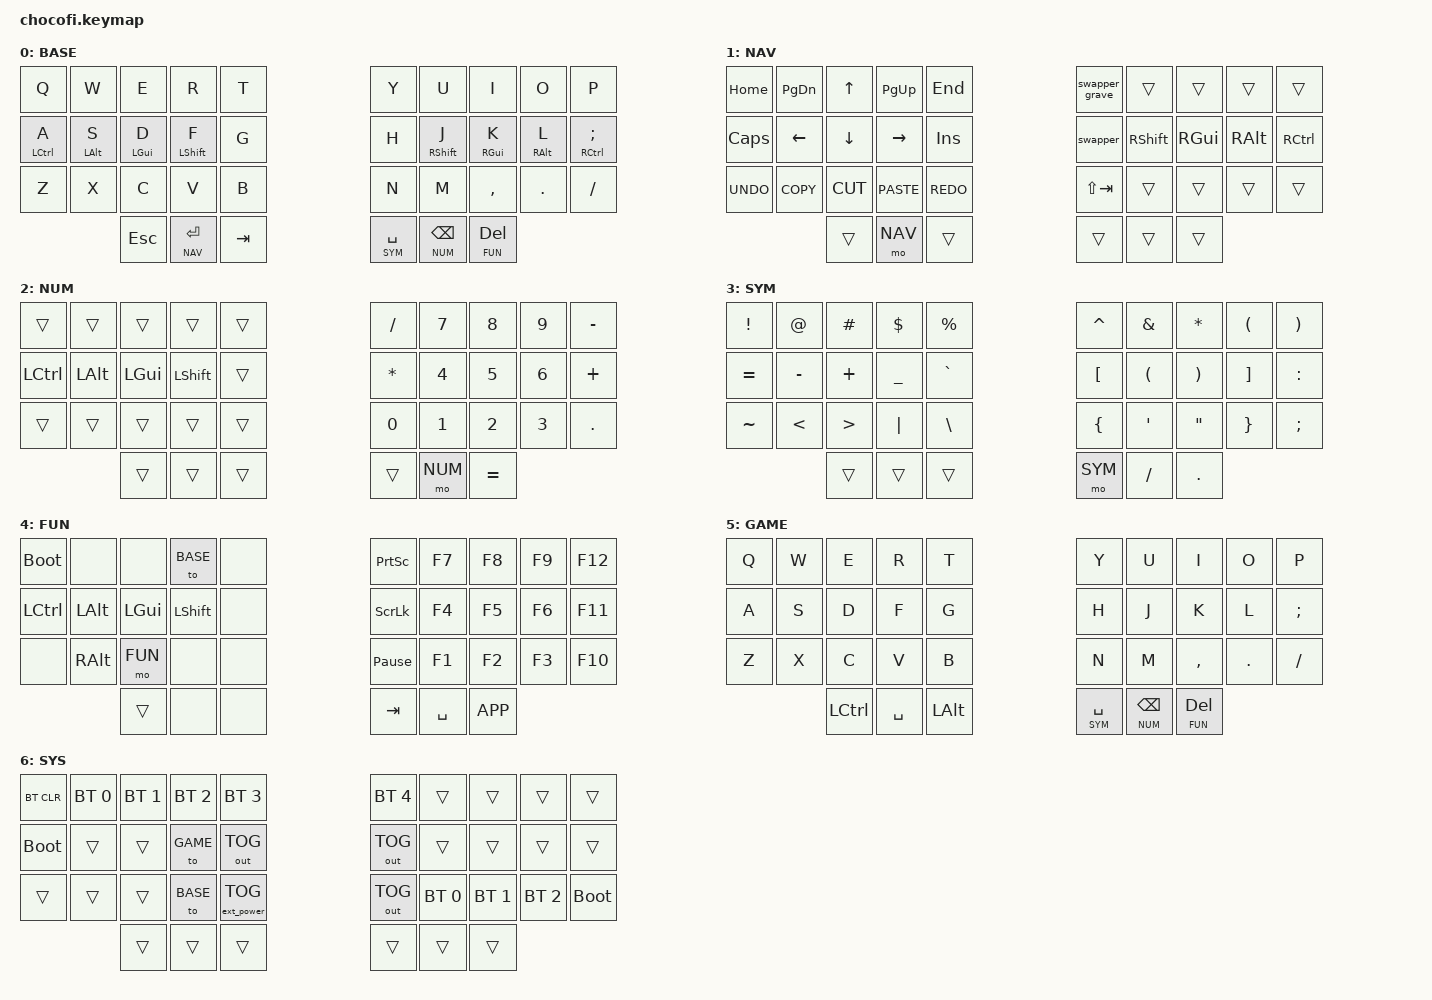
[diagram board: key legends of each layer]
/*
 * Unified Miryoku-inspired keymap for Chocofi keyboard (36 keys)
 * Uses Miryoku layer structure with urob's num layer
 * Copyright (c) 2020 The ZMK Contributors
 * SPDX-License-Identifier: MIT
 */

#include <zmk-helpers/helper.h>
#include <zmk-helpers/key-labels/36.h>
#include <behaviors/num_word.dtsi>
#include <behaviors.dtsi>
#include <dt-bindings/zmk/bt.h>
#include <dt-bindings/zmk/keys.h>
#include <dt-bindings/zmk/outputs.h>
#include <dt-bindings/zmk/ext_power.h>
#include <dt-bindings/zmk/reset.h>

// Layer definitions
#define BASE 0
#define NAV 1
#define NUM 2
#define SYM 3
#define FUN 4
#define GAME 5
#define SYS 6

// Key position groups for positional hold-tap (36-key layout)
// Left hand: 15 keys (3 rows × 5 cols)
#define KEYS_L LT0 LT1 LT2 LT3 LT4 LM0 LM1 LM2 LM3 LM4 LB0 LB1 LB2 LB3 LB4
// Right hand: 15 keys (3 rows × 5 cols)
#define KEYS_R RT0 RT1 RT2 RT3 RT4 RM0 RM1 RM2 RM3 RM4 RB0 RB1 RB2 RB3 RB4
// Thumb keys: 6 keys (3 per side)
#define THUMBS LH2 LH1 LH0 RH0 RH1 RH2

/ {
    behaviors {
        // Swapper for Ctrl+Tab window switching (macOS with swapped GUI/Ctrl)
        swapper: swapper {
            compatible = "zmk,behavior-tri-state";
            #binding-cells = <0>;
            bindings = <&kt LCTRL>, <&kp TAB>, <&kt LCTRL>;
            ignored-key-positions = <1 2 3 4 11 12 13 14 15 25>; // Allow Shift+Tab, navigation keys, and swapper_grave
        };

        // Swapper for Ctrl+` window switching within same app (macOS)
        swapper_grave: swapper_grave {
            compatible = "zmk,behavior-tri-state";
            #binding-cells = <0>;
            bindings = <&kt LCTRL>, <&kp GRAVE>, <&kt LCTRL>;
            ignored-key-positions = <1 2 3 4 11 12 13 14 15 25>; // Allow navigation keys and swapper
        };

        // Home row mods - left hand (urob's timing)
        hml: homerow_mods_left {
            compatible = "zmk,behavior-hold-tap";
            #binding-cells = <2>;
            flavor = "balanced";
            tapping-term-ms = <280>;
            quick-tap-ms = <175>;
            require-prior-idle-ms = <150>;
            bindings = <&kp>, <&kp>;
            hold-trigger-key-positions = <KEYS_R THUMBS>;
            hold-trigger-on-release;
        };

        // Home row mods - right hand (urob's timing)
        hmr: homerow_mods_right {
            compatible = "zmk,behavior-hold-tap";
            #binding-cells = <2>;
            flavor = "balanced";
            tapping-term-ms = <280>;
            quick-tap-ms = <175>;
            require-prior-idle-ms = <150>;
            bindings = <&kp>, <&kp>;
            hold-trigger-key-positions = <KEYS_L THUMBS>;
            hold-trigger-on-release;
        };

        // Tap-dance for numword: tap=numword, double-tap=sticky layer
        num_dance: num_dance {
            compatible = "zmk,behavior-tap-dance";
            #binding-cells = <0>;
            tapping-term-ms = <200>;
            bindings = <&num_word NUM>, <&sl NUM>;
        };

        // Smart-num: hold=momentary NUM, tap=numword
        smart_num: smart_num {
            compatible = "zmk,behavior-hold-tap";
            #binding-cells = <2>;
            flavor = "balanced";
            tapping-term-ms = <200>;
            quick-tap-ms = <175>;
            bindings = <&mo>, <&num_dance>;
        };
    };

    combos {
        compatible = "zmk,combos";

        // Combo to access SYS layer (Q + Z on left side)
        combo_sys {
            timeout-ms = <50>;
            key-positions = <0 20>; // Q + Z positions
            bindings = <&mo SYS>;
            layers = <BASE GAME>;
        };
    };

    conditional_layers {
        compatible = "zmk,conditional-layers";

        // SYM + FUN held together activates SYS layer
        tri_layer {
            if-layers = <SYM FUN>;
            then-layer = <SYS>;
        };
    };

    keymap {
        compatible = "zmk,keymap";

        // BASE LAYER - QWERTY with urob's home row mods (CAGS order)
        base_layer {
            display-name = "BASE";
            // -----------------------------------------------------------------------------------------
            // |  Q  |  W  |  E  |  R  |  T  |   |  Y  |  U   |  I  |  O  |  P  |
            // | CTRL| ALT | GUI |SHFT |  G  |   |  H  |SHFT  | GUI | ALT | CTRL|
            // |  A  |  S  |  D  |  F  |     |   |     |  J   |  K  |  L  |  ;  |
            // |  Z  |  X  |  C  |  V  |  B  |   |  N  |  M   |  ,  |  .  |  /  |
            //             | ESC | NAV | TAB |   | SYM | NUM  | FUN |
            //             |     | RET |     |   | SPC | BSP  | DEL |

            bindings = <
&kp Q          &kp W        &kp E         &kp R         &kp T             &kp Y         &kp U           &kp I         &kp O        &kp P
&hml LCTRL A   &hml LALT S  &hml LGUI D   &hml LSHFT F  &kp G             &kp H         &hmr RSHFT J    &hmr RGUI K   &hmr RALT L  &hmr RCTRL SEMI
&kp Z          &kp X        &kp C         &kp V         &kp B             &kp N         &kp M           &kp COMMA     &kp DOT      &kp FSLH
                            &kp ESC       &lt NAV RET   &kp TAB           &lt SYM SPACE &lt NUM BSPC    &lt FUN DEL
            >;
        };

        // NAV LAYER - Navigation (one-handed left side, ESDF arrows)
        nav_layer {
            display-name = "NAV";
            // -----------------------------------------------------------------------------------------
            // | HOME|PG_DN| UP  |PG_UP| END |   |SW_` |     |     |     |     |
            // | CAPS| LEFT| DOWN|RIGHT| INS |   |SWAP |SHFT | GUI | ALT |CTRL |
            // | UNDO| COPY| CUT |PASTE| REDO|   |S+TAB|     |     |     |     |
            //             |     | NAV |     |   |     |     |     |

            bindings = <
&kp HOME   &kp PG_DN  &kp UP     &kp PG_UP   &kp END       &swapper_grave &trans     &trans    &trans    &trans
&kp CAPS   &kp LEFT   &kp DOWN   &kp RIGHT   &kp INS       &swapper       &kp RSHFT  &kp RGUI  &kp RALT  &kp RCTRL
&kp K_UNDO &kp K_COPY &kp K_CUT  &kp K_PASTE &kp K_REDO    &kp LS(TAB)    &trans     &trans    &trans    &trans
                      &trans     &mo NAV     &trans        &trans         &trans     &trans
            >;
        };

        // NUM LAYER - Number pad (one-handed right side, activated by right thumb)
        num_layer {
            display-name = "NUM";
            // -----------------------------------------------------------------------------------------
            // |     |     |     |     |     |   |  /  |  7  |  8  |  9  |  -  |
            // | CTRL| ALT | GUI |SHFT |     |   |  *  |  4  |  5  |  6  |  +  |
            // |     |     |     |     |     |   |  0  |  1  |  2  |  3  |  .  |
            //             |     |     |     |   |     | NUM |  =  |

            bindings = <
&trans     &trans    &trans    &trans     &trans    &kp FSLH  &kp N7  &kp N8  &kp N9  &kp MINUS
&kp LCTRL  &kp LALT  &kp LGUI  &kp LSHFT  &trans    &kp STAR  &kp N4  &kp N5  &kp N6  &kp PLUS
&trans     &trans    &trans    &trans     &trans    &kp N0    &kp N1  &kp N2  &kp N3  &kp DOT
                     &trans    &trans     &trans    &trans    &mo NUM &kp EQUAL
            >;
        };

        // SYM LAYER - Symbols (Traditional number row + Python/JS optimized)
        sym_layer {
            display-name = "SYM";
            // -----------------------------------------------------------------------------------------
            // |  !  |  @  |  #  |  $  |  %  |   |  ^  |  &  |  *  |  (  |  )  |
            // |  =  |  -  |  +  |  _  |  `  |   |  [  |  (  |  )  |  ]  |  :  |
            // |  ~  |  <  |  >  |  |  |  \  |   |  {  |  '  |  "  |  }  |  ;  |
            //             |     |     |     |   | SYM |  /  |  .  |

            bindings = <
&kp EXCL   &kp AT    &kp HASH  &kp DLLR  &kp PRCNT    &kp CARET &kp AMPS  &kp ASTRK &kp LPAR  &kp RPAR
&kp EQUAL  &kp MINUS &kp PLUS  &kp UNDER &kp GRAVE    &kp LBKT  &kp LPAR  &kp RPAR  &kp RBKT  &kp COLON
&kp TILDE  &kp LT    &kp GT    &kp PIPE  &kp BSLH     &kp LBRC  &kp SQT   &kp DQT   &kp RBRC  &kp SEMI
                     &trans    &trans    &trans       &mo SYM   &kp FSLH  &kp DOT
            >;
        };

        // FUN LAYER - Function keys (Miryoku flipped: right hand function keys)
        fun_layer {
            display-name = "FUN";
            // -----------------------------------------------------------------------------------------
            // |BOOT |     |     |BASE |     |   |PSCR | F7  | F8  | F9  | F12 |
            // | CTRL| ALT | GUI |SHFT |     |   |SLCK | F4  | F5  | F6  | F11 |
            // |     |RALT | FUN |     |     |   |PAUS | F1  | F2  | F3  | F10 |
            //             |     |     |     |   | TAB | SPC | APP |

            bindings = <
&bootloader &none     &none      &to BASE   &none     &kp PSCRN        &kp F7     &kp F8     &kp F9     &kp F12
&kp LCTRL   &kp LALT  &kp LGUI   &kp LSHFT  &none     &kp SLCK         &kp F4     &kp F5     &kp F6     &kp F11
&none       &kp RALT  &mo FUN    &none      &none     &kp PAUSE_BREAK  &kp F1     &kp F2     &kp F3     &kp F10
                      &trans     &none      &none     &kp TAB          &kp SPACE  &kp K_APP
            >;
        };

        // GAME LAYER - Gaming mode (no home row mods, instant key response)
        game_layer {
            display-name = "GAME";
            // -----------------------------------------------------------------------------------------
            // |  Q  |  W  |  E  |  R  |  T  |   |  Y  |  U   |  I  |  O  |  P  |
            // |  A  |  S  |  D  |  F  |  G  |   |  H  |  J   |  K  |  L  |  ;  |
            // |  Z  |  X  |  C  |  V  |  B  |   |  N  |  M   |  ,  |  .  |  /  |
            //             | CTRL| SPC | ALT |   | SYM | NUM  | FUN |
            // Q+Z combo opens SYS layer to toggle back to BASE

            bindings = <
&kp Q      &kp W      &kp E      &kp R      &kp T         &kp Y         &kp U        &kp I         &kp O        &kp P
&kp A      &kp S      &kp D      &kp F      &kp G         &kp H         &kp J        &kp K         &kp L        &kp SEMI
&kp Z      &kp X      &kp C      &kp V      &kp B         &kp N         &kp M        &kp COMMA     &kp DOT      &kp FSLH
                      &kp LCTRL  &kp SPACE  &kp LALT      &lt SYM SPACE &lt NUM BSPC &lt FUN DEL
            >;
        };

        // SYS LAYER - System (includes GAME mode toggle)
        sys_layer {
            display-name = "SYS";
            // -----------------------------------------------------------------------------------------
            // |BTCLR| BT0 | BT1 | BT2 | BT3 |   | RGB | RGB | RGB | RGB | RGB |
            // |BOOT |     |     |GAME | OUT |   | TOG | HUI | SAI | BRI | EFF |
            // |     |     |     |BASE |EP_TOG|  | OUT | BT0 | BT1 | BT2 |BOOT |
            //             |     |     |     |   |     |     |     |

            bindings = <
&bt BT_CLR   &bt BT_SEL 0  &bt BT_SEL 1  &bt BT_SEL 2  &bt BT_SEL 3       &bt BT_SEL 4  &trans          &trans          &trans          &trans
&bootloader  &trans        &trans        &to GAME      &out OUT_TOG       &out OUT_TOG  &trans          &trans          &trans          &trans
&trans       &trans        &trans        &to BASE      &ext_power EP_TOG  &out OUT_TOG  &bt BT_SEL 0    &bt BT_SEL 1    &bt BT_SEL 2    &bootloader
                           &trans        &trans        &trans             &trans        &trans          &trans
            >;
        };

        // Reserved layers for ZMK Studio
        extra_1 {
            status = "reserved";
        };

        extra_2 {
            status = "reserved";
        };

        extra_3 {
            status = "reserved";
        };
    };
};
